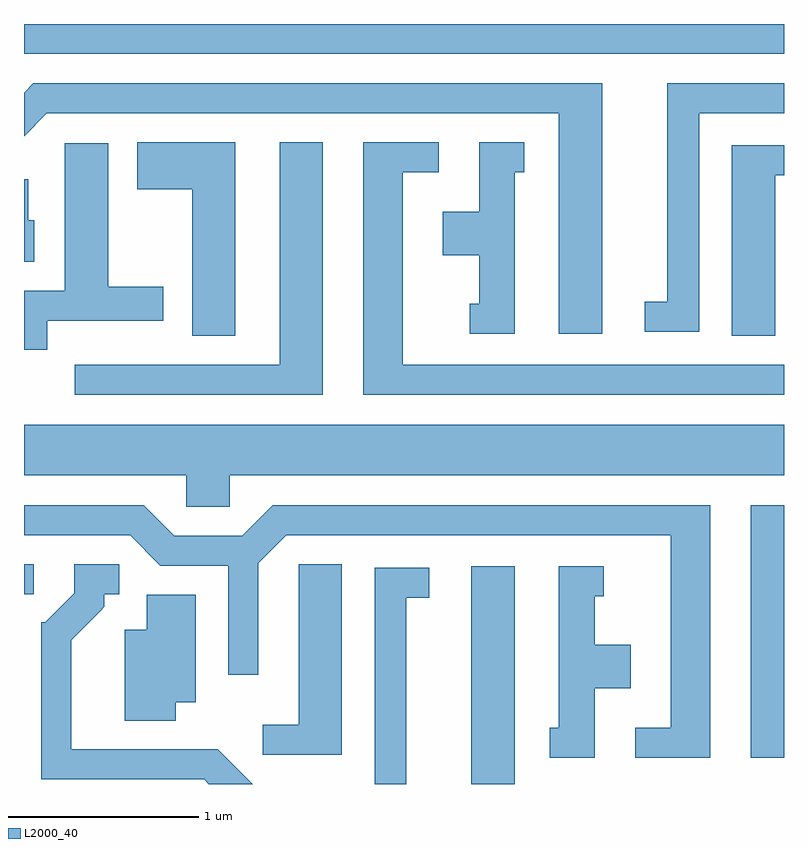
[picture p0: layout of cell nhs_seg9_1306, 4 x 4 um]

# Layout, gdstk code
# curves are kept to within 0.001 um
import gdstk
lib = gdstk.Library(unit=1e-6, precision=1e-09)
def R(c, l, rs):  # rectangles x0, y0, x1, y1
    for r in rs: c.add(gdstk.rectangle(r[:2], r[2:], *l))
def P(c, l, *ps):  # polygons
    for p in ps: c.add(gdstk.Polygon(p, *l))
L2000_40 = (2000, 40)

nhs_seg9_1306 = lib.new_cell('nhs_seg9_1306')
R(nhs_seg9_1306, L2000_40, [(225.966,1972.432,226.194,1973.579), (227.436,1972.571,227.611,1973.899), (223.611,1973.431,223.663,1973.589), (223.611,1976.276,227.611,1976.432)])
P(nhs_seg9_1306, L2000_40, [(227.164,1975.961),(227.611,1975.961),(227.611,1976.119),(226.996,1976.119),(226.996,1974.969),(226.878,1974.969),(226.878,1974.811),(227.164,1974.811)],
  [(226.654,1976.119),(223.659,1976.119),(223.611,1976.071),(223.611,1975.84),(223.732,1975.961),(226.426,1975.961),(226.426,1974.801),(226.654,1974.801)],
  [(227.611,1974.639),(225.604,1974.639),(225.604,1975.651),(225.793,1975.651),(225.793,1975.809),(225.396,1975.809),(225.396,1974.481),(227.611,1974.481)],
  [(224.724,1975.809),(224.206,1975.809),(224.206,1975.561),(224.496,1975.561),(224.496,1974.791),(224.724,1974.791)],
  [(226.194,1975.651),(226.243,1975.651),(226.243,1975.809),(226.006,1975.809),(226.006,1975.444),(225.816,1975.444),(225.816,1975.216),(226.006,1975.216),(226.006,1974.959),(225.958,1974.959),(225.958,1974.801),(226.194,1974.801)],
  [(225.184,1975.809),(224.956,1975.809),(224.956,1974.639),(223.878,1974.639),(223.878,1974.481),(225.184,1974.481)],
  [(223.734,1974.871),(224.344,1974.871),(224.344,1975.049),(224.054,1975.049),(224.054,1975.804),(223.826,1975.804),(223.826,1975.029),(223.611,1975.029),(223.611,1974.718),(223.734,1974.718)],
  [(227.564,1975.636),(227.611,1975.636),(227.611,1975.794),(227.336,1975.794),(227.336,1974.791),(227.564,1974.791)],
  [(223.664,1975.399),(223.634,1975.399),(223.634,1975.614),(223.611,1975.614),(223.611,1975.181),(223.664,1975.181)],
  [(224.694,1974.056),(227.611,1974.056),(227.611,1974.324),(223.611,1974.324),(223.611,1974.056),(224.466,1974.056),(224.466,1973.891),(224.694,1973.891)],
  [(227.224,1973.899),(224.919,1973.899),(224.759,1973.739),(224.402,1973.739),(224.242,1973.899),(223.611,1973.899),(223.611,1973.741),(224.169,1973.741),(224.329,1973.581),(224.686,1973.581),(224.686,1973.008),(224.844,1973.008),(224.844,1973.594),(224.992,1973.741),(227.016,1973.741),(227.016,1972.729),(226.828,1972.729),(226.828,1972.571),(227.224,1972.571)],
  [(225.284,1973.589),(225.056,1973.589),(225.056,1972.744),(224.868,1972.744),(224.868,1972.586),(225.284,1972.586)],
  [(224.632,1972.614),(223.859,1972.614),(223.859,1973.189),(224.034,1973.364),(224.034,1973.431),(224.113,1973.431),(224.113,1973.589),(223.876,1973.589),(223.876,1973.437),(223.724,1973.284),(223.701,1973.284),(223.701,1972.456),(224.559,1972.456),(224.583,1972.432),(224.814,1972.432)],
  [(226.614,1972.936),(226.804,1972.936),(226.804,1973.164),(226.614,1973.164),(226.614,1973.421),(226.663,1973.421),(226.663,1973.579),(226.426,1973.579),(226.426,1972.729),(226.378,1972.729),(226.378,1972.571),(226.614,1972.571)],
  [(225.624,1973.411),(225.743,1973.411),(225.743,1973.569),(225.456,1973.569),(225.456,1972.432),(225.624,1972.432)],
  [(224.409,1972.861),(224.514,1972.861),(224.514,1973.429),(224.256,1973.429),(224.256,1973.244),(224.141,1973.244),(224.141,1972.766),(224.409,1972.766)])

lib.write_gds('nhs_seg9_1306.gds')
